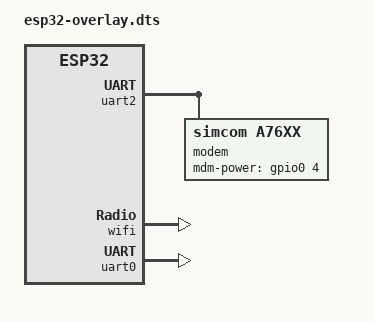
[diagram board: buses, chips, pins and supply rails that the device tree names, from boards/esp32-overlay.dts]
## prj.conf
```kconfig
CONFIG_BOOTLOADER_MCUBOOT=y

CONFIG_LOG=y
CONFIG_LOG_DEFAULT_LEVEL=3
CONFIG_LOG_MODE_IMMEDIATE=y  
CONFIG_NET_LOG=y
CONFIG_MODEM_LOG_LEVEL_DBG=y
CONFIG_UART_LOG_LEVEL_DBG=y
CONFIG_MODEM_CONTEXT_VERBOSE_DEBUG=y
CONFIG_LOG_MODE_IMMEDIATE=y
CONFIG_LOG_MODE_MINIMAL=y

# Network Configuration
CONFIG_NET_CONFIG_AUTO_INIT=n
CONFIG_NET_CONNECTION_MANAGER=y
# CONFIG_NET_IF_MAX_IPV4_COUNT=2
CONFIG_NET_IPV4=y
CONFIG_NET_L2_ETHERNET=y
CONFIG_NET_L2_WIFI_MGMT=y
CONFIG_NET_MGMT=y
CONFIG_NET_MGMT_EVENT=y
CONFIG_NET_MGMT_EVENT_INFO=y
CONFIG_NET_UDP=y
CONFIG_NETWORKING=y
CONFIG_COAP=y
CONFIG_NET_SOCKETS=y
# CONFIG_POSIX_API=y
CONFIG_NET_DHCPV4=y
CONFIG_ESP32_WIFI_STA_AUTO_DHCPV4=y

CONFIG_NET_MGMT_EVENT_QUEUE_SIZE=10
CONFIG_NET_MGMT_EVENT_STACK_SIZE=4096
# CONFIG_NET_PKT_RX_COUNT=24
# CONFIG_NET_PKT_TX_COUNT=24
CONFIG_MAIN_STACK_SIZE=4096
# CONFIG_ISR_STACK_SIZE=4096
# CONFIG_NET_MGMT_EVENT_STACK_SIZE=5120

CONFIG_NET_BUF_RX_COUNT=32
CONFIG_NET_BUF_TX_COUNT=32
CONFIG_NET_BUF_DATA_SIZE=512
CONFIG_NET_RX_STACK_SIZE=4096
CONFIG_NET_TX_STACK_SIZE=4096
CONFIG_NET_PKT_RX_COUNT=64
CONFIG_NET_PKT_TX_COUNT=64
CONFIG_SYSTEM_WORKQUEUE_STACK_SIZE=4096

CONFIG_SHELL=y
CONFIG_THREAD_STACK_INFO=y
CONFIG_THREAD_MONITOR=y
CONFIG_INIT_STACKS=y

# CONFIG_NET_SOCKETS_TLS_PRIORITY=45  # defaults to that already
# CONFIG_NET_SOCKETS_OFFLOAD_PRIORITY=40  # defaults to that already
# CONFIG_NET_SOCKETS_PRIORITY_DEFAULT=40  # defaults to that already
# i dont ever want socket() to link to the modem
# CONFIG_MODEM_SIMCOM_A76XX_SOCKET_PRIORITY=40

CONFIG_NET_OFFLOAD=y
CONFIG_NET_SOCKETS=y
CONFIG_NET_SOCKETS_OFFLOAD=y

# Modem config
CONFIG_MODEM=y
CONFIG_MODEM_A76XX=y
CONFIG_MODEM_SIM_NUMBERS=n
CONFIG_MODEM_SIMCOM_A76XX_RAT_NB1=n
CONFIG_MODEM_SIMCOM_A76XX_RAT_M1=n
CONFIG_MODEM_SIMCOM_A76XX_RAT_GSM=y
```

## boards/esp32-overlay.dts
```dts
/ {

	chosen {
		zephyr,console = &uart0;
		zephyr,shell-uart = &uart0;
	};

	aliases {
        modem-uart = &uart2;
		modem = &modem;
		adaptive-net-device-1 = &modem;
		adaptive-net-device-2 = &wifi;
    };
};


&uart2 {
    modem: modem {
		compatible = "simcom,a76xx";
        mdm-power-gpios = <&gpio0 4 GPIO_ACTIVE_HIGH>;
		status = "okay";
	};
    status = "okay";
};


&wifi {
	status = "okay";
};

&uart0 {
	status = "okay";
};
```

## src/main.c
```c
#include <zephyr/logging/log.h>
LOG_MODULE_REGISTER(main, LOG_LEVEL_DBG);

#include <zephyr/kernel.h>
#include <zephyr/net/wifi_mgmt.h>
#include <stdio.h>
#include <zephyr/net/net_ip.h>
#include <zephyr/net/socket.h>
#include <zephyr/net/udp.h>
#include <zephyr/net/coap.h>
#include <zephyr/posix/sys/socket.h>
#include "net_private.h"
#include "adaptive-sockets.h"


#define MAX_COAP_MSG_LEN 256
static const char *const test_path[] = {"hello", NULL};

static int send_simple_coap_request(int sock, uint8_t method)
{
    uint8_t payload[] = "payload";
    struct coap_packet request;
    const char *const *p;
    uint8_t *data;
    int r;

    data = (uint8_t *)k_calloc(MAX_COAP_MSG_LEN, 1);
    if (!data)
    {
        return -ENOMEM;
    }

    r = coap_packet_init(&request, data, MAX_COAP_MSG_LEN,
                         COAP_VERSION_1, COAP_TYPE_CON,
                         COAP_TOKEN_MAX_LEN, coap_next_token(),
                         method, coap_next_id());
    if (r < 0)
    {
        LOG_ERR("Failed to init CoAP message");
        goto end;
    }

    for (p = test_path; p && *p; p++)
    {
        r = coap_packet_append_option(&request, COAP_OPTION_URI_PATH,
                                      *p, strlen(*p));
        if (r < 0)
        {
            LOG_ERR("Unable add option to request");
            goto end;
        }
    }

    switch (method) {
	case COAP_METHOD_GET:
	case COAP_METHOD_DELETE:
		break;

	case COAP_METHOD_PUT:
	case COAP_METHOD_POST:
		r = coap_packet_append_payload_marker(&request);
		if (r < 0) {
			LOG_ERR("Unable to append payload marker");
			goto end;
		}

		r = coap_packet_append_payload(&request, (uint8_t *)payload,
					       sizeof(payload) - 1);
		if (r < 0) {
			LOG_ERR("Not able to append payload");
			goto end;
		}

		break;
	default:
		r = -EINVAL;
		goto end;
	}

    net_hexdump("Request", request.data, request.offset);

    r = zsock_send(sock, request.data, request.offset, 0);

end:
    k_free(data);

    return r;
}

static int process_simple_coap_reply(int sock)
{
    struct coap_packet reply;
    uint8_t *data;
    int rcvd;
    int ret;

    LOG_DBG("Starting to process simple CoAP reply...");

    data = (uint8_t *)k_calloc(MAX_COAP_MSG_LEN, 1);
    if (!data)
    {
        LOG_ERR("Failed to allocate memory for storing coap response.");
        return -ENOMEM;
    }

    rcvd = zsock_recv(sock, data, MAX_COAP_MSG_LEN, MSG_DONTWAIT);
    if (rcvd == 0)
    {
        LOG_ERR("Received zero bytes.");
        ret = -EIO;
        goto end;
    }

    // if (rcvd < 0)
    // {
    //     LOG_ERR("Something went wrong when recieving data.");
    //     if (errno == EAGAIN || errno == EWOULDBLOCK)
    //     {
    //         ret = 0;
    //     }
    //     else
    //     {
    //         ret = -errno;
    //     }

    //     goto end;
    // }

    net_hexdump("Response", data, rcvd);

    ret = coap_packet_parse(&reply, data, rcvd, NULL, 0);
    if (ret < 0)
    {
        LOG_ERR("Invalid data received");
    }

    /*
     * THE FIX: Extract and print the human-readable payload.
     */
    uint8_t *payload;
    uint16_t payload_len;

    payload = coap_packet_get_payload(&reply, &payload_len);
    if (payload && payload_len > 0)
    {
        /*
         * Use the %.*s format specifier to print the payload,
         * which is not a null-terminated string.
         */
        LOG_INF("CoAP response payload: %.*s", payload_len, payload);
    }
    else
    {
        LOG_WRN("CoAP response has no payload.");
    }

end:
    k_free(data);

    return ret;
}

int main(void)
{

    connect_to_wifi();
    adaptive_sockets_init();

    int ret = 0;
    struct sockaddr_in addr;
    addr.sin_family = AF_INET;
    addr.sin_port = htons(5683);
    net_addr_pton(AF_INET, "134.102.218.18", &addr.sin_addr);

    int sock = zsock_socket(addr.sin_family, SOCK_DGRAM, IPPROTO_UDP);
    if (sock < 0)
    {
        LOG_ERR("Failed to create UDP socket %d", errno);
        return -sock;
    }
    else
    {
        LOG_DBG("Created socket with fd %d.", sock);
    }

    ret = zsock_connect(sock, (struct sockaddr *)&addr, sizeof(addr));
    if (ret < 0)
    {
        LOG_ERR("Cannot connect to UDP remote : %d", errno);
        return -ret;
    }
    else
    {
        LOG_INF("Connected to UDP remote.");
    }

    ret = send_simple_coap_request(sock, COAP_METHOD_GET);
    if (ret < 0)
    {
        LOG_ERR("Failed to send coap request. Error code %d.", ret);
        return ret;
    }
    else
    {
        LOG_INF("Sent coap request successfully");
    }

    ret = process_simple_coap_reply(sock);
    if (ret < 0)
    {
        LOG_ERR("Error process_simple_coap_reply: %d", errno);
    }
    else
    {
        LOG_INF("Processed coap reply correctly.");
    }

    return 0;
}
```

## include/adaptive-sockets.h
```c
#ifndef ADAPTIVE_SOCKETS_H
#define ADAPTIVE_SOCKETS_H

#define ADAPT_CUSTOM_ADDRESS_FAMILY 7  // just make sure it doesnt overlap with any existing address family

int adaptive_sockets_init();

#endif
```

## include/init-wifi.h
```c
#ifndef INIT_WIFI_H
#define INIT_WIFI_H

int connect_to_wifi(void);

#endif
```

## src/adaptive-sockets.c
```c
#include <zephyr/logging/log.h>
LOG_MODULE_REGISTER(adaptive_sockets, LOG_LEVEL_DBG);
#include <zephyr/kernel.h>
#include <zephyr/net/net_if.h>
#include <zephyr/net/socket.h>
#include <zephyr/net/net_context.h>
#include <zephyr/net/net_pkt.h>
#include <zephyr/device.h>
#include <zephyr/devicetree.h>

// node identifiers
#define ADAPT_NET_DEV_1 DT_ALIAS(adaptive_net_device_1)
#define ADAPT_NET_DEV_2 DT_ALIAS(adaptive_net_device_2)

// compile time checks
#if !DT_NODE_HAS_STATUS(ADAPT_NET_DEV_1, okay)
#error "Devicetree alias 'adaptive-net-device-1' is missing or disabled. Please define it in your board overlay."
#endif
#if !DT_NODE_HAS_STATUS(ADAPT_NET_DEV_2, okay)
#error "Devicetree alias 'adaptive-net-device-2' is missing or disabled. Please define it in your board overlay."
#endif

#define NET_IF_STATUS_POLLING_INTERVAL K_SECONDS(10)
#define NET_IF_STATUS_POLLING_PRIORITY 10
#define NET_IF_1_STABLE_CHECKS_NEEDED 2
#define ADAPTIVE_MAX_SEND_TRIES 3
#define ADAPTIVE_MAX_RECV_TRIES 3

/*
 * Holds data for and Adaptive Socket
 */
struct adaptive_socket
{
    int fd;
    struct netif *net_if;
    struct net_context *context;
    struct k_sem recv_pkt_sem;
    struct net_pkt *recv_pkt;
    struct sockaddr *dest_addr;
    socklen_t dest_addr_len;
    uint8_t *send_buf;
    size_t send_buf_len;
    bool connected;
    int error;
};

/*
 * Holds data for the Adaptive Sockets Layer
 */
struct adaptive_sockets_layer
{
    struct net_if *net_if_1;
    struct net_if *net_if_2;
    bool net_if_1_operational;
    bool net_if_2_operational;
    /*
     * Keeps track of how many recent checks found net if 1 to be stable.
     * Gets reset to 0 if net if 1 is not operational.
     * Increases by 1 every time net if 1 is found operational.
     * Capped at NET_IF_1_STABLE_CHECKS_NEEDED.
     * net if 1 is stable if net_if_1_successful_stable_checks == NET_IF_1_STABLE_CHECKS_NEEDED.
     */
    uint8_t net_if_1_successful_stable_checks;
    struct k_mutex lock;
    struct k_thread monitor_thread_data;
    k_tid_t monitor_tid;
    int error;
};

void net_if_status_monitor_thread(void *p1, void *p2, void *p3);
K_THREAD_STACK_DEFINE(monitor_stack_area, NET_IF_STATUS_MONITOR_THREAD_STACK_SIZE);
static struct adaptive_sockets_layer adapt_sockets_layer = {0};
static bool adaptive_net_if_is_operational(struct net_if *iface);
static int adaptive_close(void *obj);
static int adaptive_connect(void *obj, const struct sockaddr *dest_addr, socklen_t dest_addr_len);
static ssize_t adaptive_sendto(void *obj, const void *buf, size_t buf_len, int flags, struct sockaddr *dest_addr, socklen_t dest_addr_len);
static ssize_t adaptive_recvfrom(void *obj, void *buf, size_t buf_len, int flags, struct sockaddr *src_addr, socklen_t *src_addr_len);

static const struct socket_op_vtable adapt_socket_ops = {
    .fd_vtable = {
        .read = NULL,
        .write = NULL,
        .close = adaptive_close, // implement
        .ioctl = NULL},
    .shutdown = NULL,
    .bind = NULL,
    .connect = adaptive_connect, // implement
    .listen = NULL,
    .accept = NULL,
    .sendto = adaptive_sendto,     // implement
    .recvfrom = adaptive_recvfrom, // implement
    .getsockopt = NULL,
    .setsockopt = NULL,
    .sendmsg = NULL,
    .recvmsg = NULL,
    .getpeername = NULL,
    .getsockname = NULL,
};

static void adaptive_update_net_if_statuses()
{
    k_mutex_lock(&adapt_sockets_layer.lock, K_FOREVER);
    adapt_sockets_layer.net_if_1_operational = adaptive_net_if_is_operational(adapt_sockets_layer.net_if_1);
    if (!adapt_sockets_layer.net_if_1_operational)
    {
        adapt_sockets_layer.net_if_1_successful_stable_checks = 0;
    }
    adapt_sockets_layer.net_if_2_operational = adaptive_net_if_is_operational(adapt_sockets_layer.net_if_2);
    k_mutex_unlock(&adapt_sockets_layer.lock);
}

static void net_if_status_monitor_thread(void *p1, void *p2, void *p3)
{
    while (true)
    {
        k_sleep(NET_IF_STATUS_POLLING_INTERVAL);
        k_mutex_lock(&adapt_sockets_layer.lock, K_FOREVER);
        adapt_sockets_layer.net_if_1_operational = adaptive_net_if_is_operational(adapt_sockets_layer.net_if_1);
        if (adapt_sockets_layer.net_if_1_operational &&
            adapt_sockets_layer.net_if_1_successful_stable_checks < NET_IF_1_STABLE_CHECKS_NEEDED)
        {
            adapt_sockets_layer.net_if_1_successful_stable_checks++;
        }
        else if (!adapt_sockets_layer.net_if_1_operational)
        {
            adapt_sockets_layer.net_if_1_successful_stable_checks = 0;
        }
        adapt_sockets_layer.net_if_2_operational = adaptive_net_if_is_operational(adapt_sockets_layer.net_if_2);
        k_mutex_unlock(&adapt_sockets_layer.lock);
    }
}

static bool adaptive_net_if_1_is_stable()
{
    return adapt_sockets_layer.net_if_1_successful_stable_checks == NET_IF_1_STABLE_CHECKS_NEEDED;
}

void log_interface_conditions(struct net_if *iface)
{
    if (iface == NULL)
    {
        LOG_ERR("Cannot log conditions: Interface pointer is NULL.");
        return;
    }
    LOG_DBG("Admin up: %d\nCarrier okay: %d\nIs dormant: %d", net_if_is_admin_up(iface), net_if_is_carrier_ok(iface), net_if_is_dormant(iface));
}

void log_ipv4(struct sockaddr *addr, socklen_t addrlen)
{
    if (addr && addrlen >= sizeof(struct sockaddr_in))
    {
        // Assume IPv4 for demonstration (common case)
        const struct sockaddr_in *sin = (const struct sockaddr_in *)addr;
        char addr_str[NET_IPV4_ADDR_LEN];

        // Convert the IP address to a human-readable string
        if (net_addr_ntop(AF_INET, &sin->sin_addr, addr_str, sizeof(addr_str)))
        {

            LOG_DBG("Address: %s:%u",
                    addr_str,
                   ntohs(sin->sin_port));
            LOG_DBG("Address Family (sin_family): %d (AF_INET=2)", sin->sin_family);
        }
        else
        {
            LOG_DBG("Destination Address available, but net_addr_ntop failed.");
        }
    }
    else if (addr)
    {
        LOG_DBG("Destination Address provided, but is NOT IPv4 or size is incorrect. Family: %d",
                addr->sa_family);
    }
    else
    {
        LOG_DBG("Destination Address (addr): NULL");
    }
}

static bool adaptive_net_if_is_operational(struct net_if *iface)
{
    return iface != NULL && net_if_is_admin_up(iface) && net_if_is_carrier_ok(iface) && !net_if_is_dormant(iface);
}

static struct net_if *adaptive_get_prefered_net_if(void)
{
    adaptive_update_net_if_statuses();
    k_mutex_lock(&adapt_sockets_layer.lock, K_FOREVER);
    struct net_if *prefered = NULL;
    if (adapt_sockets_layer.net_if_1_operational && adaptive_net_if_1_is_stable())
    {
        prefered = adapt_sockets_layer.net_if_1;
    }
    else if (adaptive_net_if_is_operational(adapt_sockets_layer.net_if_2))
    {
        prefered = adapt_sockets_layer.net_if_2;
    }
    k_mutex_unlock(&adapt_sockets_layer.lock);
    return prefered;
}

static struct net_if *adaptive_get_inner_net_if(struct device *dev)
{
    if (dev == NULL)
    {
        LOG_ERR("No device given!");
        adapt_sockets_layer.error = ENODEV;
        return -adapt_sockets_layer.error;
    }
    if (!device_is_ready(dev))
    {
        LOG_ERR("Adaptive net device is not ready yet.");
        // Use EBUSY: Resource is busy or not initialized.
        adapt_sockets_layer.error = EBUSY;
        return -adapt_sockets_layer.error;
    }
    struct net_if *iface = net_if_lookup_by_dev(dev);
    if (iface == NULL)
    {
        LOG_ERR("Failed to get network interface for net device!");
        adapt_sockets_layer.error = ENODEV;
        return -adapt_sockets_layer.error;
    }
    return iface;
}

int adaptive_sockets_init(void)
{
    k_mutex_init(&adapt_sockets_layer.lock);
    k_mutex_lock(&adapt_sockets_layer.lock, K_FOREVER);
    adapt_sockets_layer.error = 0;

    // get inner net ifs
    struct device *net_dev_1 = DEVICE_DT_GET(ADAPT_NET_DEV_1);
    adapt_sockets_layer.net_if_1 = adaptive_get_inner_net_if(net_dev_1);
    if (adapt_sockets_layer.net_if_1 == NULL)
    {
        LOG_ERR("Could not find net if for net device 1.");
        adapt_sockets_layer.error = ENODEV;
        return -ENODEV;
    }
    struct device *net_dev_2 = DEVICE_DT_GET(ADAPT_NET_DEV_2);
    adapt_sockets_layer.net_if_2 = adaptive_get_inner_net_if(net_dev_2);
    if (adapt_sockets_layer.net_if_2 == NULL)
    {
        LOG_ERR("Could not find net if for net device 2.");
        adapt_sockets_layer.error = ENODEV;
        return -ENODEV;
    }

    // create a thread to monitor net ifs
    adapt_sockets_layer.monitor_tid = k_thread_create(
        &adapt_sockets_layer.monitor_thread_data,
        monitor_stack_area,
        K_THREAD_STACK_SIZEOF(monitor_stack_area),
        net_if_status_monitor_thread,
        NULL, NULL, NULL,
        NET_IF_STATUS_POLLING_PRIORITY,
        0,
        K_NO_WAIT);

    // set net ifs current status
    adapt_sockets_layer.net_if_1_operational = adaptive_net_if_is_operational(adapt_sockets_layer.net_if_1);
    adapt_sockets_layer.net_if_2_operational = adaptive_net_if_is_operational(adapt_sockets_layer.net_if_2);
    k_mutex_unlock(&adapt_sockets_layer.lock);
    return 0;
}

static int adaptive_connect(void *obj, const struct sockaddr *dest_addr, socklen_t dest_addr_len)
{
    struct adaptive_socket *socket = (struct adaptive_socket *)obj;
    LOG_DBG("Running adaptive_connect for socket %d...", socket->fd);

    // destination might be given here or in the send function. This is to account for both cases.
    // we're storing destination for later
    socket->dest_addr = dest_addr;
    socket->dest_addr_len = dest_addr_len;
    // we need to be bound at this stage cause net_context_connect might try to call net_offloaded funcs
    struct net_if *iface = adaptive_get_prefered_net_if();
    net_context_bind_iface(socket->context, iface);
    int error = net_context_connect(
        socket->context,
        dest_addr,
        dest_addr_len,
        NULL,
        K_FOREVER,
        NULL);
    if (error < 0)
    {
        LOG_ERR("Failed to connect the net context. Error: %d.", error);
    }
    socket->connected = error == 0;
    return error;
}

void adaptive_on_send(struct net_context *context, int status, void *user_data)
{
    LOG_DBG("Running adaptive_on_send...");
}

static ssize_t adaptive_sendto(void *obj, const void *buf, size_t buf_len, int flags,
                               struct sockaddr *dest_addr, socklen_t dest_addr_len)
{
    struct adaptive_socket *socket = (struct adaptive_socket *)obj;
    LOG_DBG("Running adaptive_sendto for socket %d...", socket->fd);


    if (socket->send_buf != NULL)
    {
        // in case of socket reuse before callin recv
        k_free(socket->send_buf);
        socket->send_buf = NULL;
        socket->send_buf_len = 0;
    }

    uint8_t try = 0;
    while (try < ADAPTIVE_MAX_SEND_TRIES)
    {
        if (!socket->connected)
        {
            adaptive_connect(socket, dest_addr, dest_addr_len);
        }
        if (!dest_addr == NULL)
        {
            socket->dest_addr = dest_addr;
            socket->dest_addr_len = dest_addr_len;
        }

        if (socket->dest_addr == NULL)
        {
            return -EINVAL;
        }
        int bytes_sent = 0;
        bytes_sent = net_context_sendto(
            socket->context,
            buf,
            buf_len,
            socket->dest_addr,
            socket->dest_addr_len,
            adaptive_on_send,
            K_FOREVER,
            NULL);
        if (bytes_sent >= 0)
        {
            socket->send_buf = k_calloc(buf_len, 1); // free in recv and in close socket
            if (socket->send_buf == NULL)
            {
                socket->send_buf_len = 0;
                // failed to store data
                // send is still a success
                // so that means we should continue with the network operations
                // we just wont be able to retry in recv.
            }
            else
            {
                memcpy(socket->send_buf, buf, buf_len);
                socket->send_buf_len = buf_len;
            }
            return bytes_sent; // SUCCESS EXIT CONDITION
        }
        else if (try == ADAPTIVE_MAX_SEND_TRIES - 1)
        {
            // we wont be trying again
            return bytes_sent; // contains an error code
        }
        // retry logic needs to go here
        // get new preferred net if
        struct net_if *preferred_iface = adaptive_get_prefered_net_if();
        if (preferred_iface == NULL)
        {
            // return an error for net if down
            return ENETDOWN;
        }
        // if got it, retry using that net if
        socket->net_if = preferred_iface;
        socket->connected = false;
        try++;
    }
}

static void adaptive_on_receive
    struct net_context *context,
    struct net_pkt *pkt,
    union net_ip_header *ip_hdr,
    union net_proto_header *proto_hdr,
    int status,
    void *user_data)
{
    LOG_DBG("Running adaptive_on_receive...");
    struct adaptive_socket *socket = (struct adaptive_socket *)user_data;
    socket->recv_pkt = pkt;
    k_sem_give(&socket->recv_pkt_sem);
}

static ssize_t adaptive_recvfrom(void *obj, void *buf, size_t buf_len, int flags,
                                 struct sockaddr *src_addr, socklen_t *src_addr_len)
{
    struct adaptive_socket *socket = (struct adaptive_socket *)obj;
    LOG_DBG("Running adaptive_recvfrom for socket %d...", socket->fd);
    ssize_t error = 0;
    uint8_t try = 0;
    while (try < ADAPTIVE_MAX_RECV_TRIES)
    {
        error = (ssize_t)net_context_recv(socket->context, adaptive_on_receive, K_FOREVER, socket);
        if (error < 0)
        {
            LOG_ERR("Failed to receive data from context. Error: %d.", error);
            goto retry;
        }
        error = (ssize_t)k_sem_take(&socket->recv_pkt_sem, K_SECONDS(60));
        if (error == -EAGAIN)
        {
            LOG_ERR("Timeout waiting for data.");
            goto retry;
        }

        if (socket->recv_pkt == NULL)
        {
            LOG_ERR("No recieved packet found.");
            goto retry;
        }
        if (error == 0)
        {
            break;
        }
    retry:
        if (socket->send_buf == NULL)
        {
            // retry not possible
            return error;
        }
        if (try == ADAPTIVE_MAX_RECV_TRIES - 1)
        {
            error = adaptive_sendto(socket, socket->send_buf, socket->send_buf_len, 0, NULL, 0);
            if (error < 0)
            {
                // return because send also failed
               goto cleanup;
            }
        }
        try++;
    }
    // check if error
    if (error < 0)
    {
        goto cleanup;
    }

    size_t pkt_len = net_pkt_get_len(socket->recv_pkt);
    // hacky solution: espressif wifi driver seems to add extra 28 bytes of data
    if (net_if_get_wifi_sta() == socket->net_if)
    {
        if (pkt_len < 28)
        {
            error = -EMSGSIZE;
            goto cleanup;
        }
        else
        {
            pkt_len = pkt_len - 28;
        }
    }
    ssize_t bytes_to_copy = (pkt_len < buf_len ? pkt_len : buf_len);
    LOG_DBG("max_length: %zu, packet_length: %zu, bytes_to_copy: %zu", buf_len, pkt_len, bytes_to_copy);
    net_pkt_cursor_init(socket->recv_pkt);
    error = (ssize_t)net_pkt_read(socket->recv_pkt, buf, bytes_to_copy);
    if (error < 0)
    {
        LOG_ERR("Failed to read network packet. Error code: %d.", error);
    }
cleanup:
    if (socket->recv_pkt != NULL)
    {
        net_pkt_unref(socket->recv_pkt); // unref the packet regardless of whether it was read successfully.
        socket->recv_pkt = NULL;
    }
    k_free(socket->send_buf);
    socket->send_buf = NULL;
    socket->send_buf_len = 0;
    return error == 0 ? (ssize_t)bytes_to_copy : error;
}

static int adaptive_close(void *obj)
{
    struct adaptive_socket *socket = (struct adaptive_socket *)obj;
    LOG_DBG("Running adaptive_close for socket %d...", socket->fd);
    int error = net_context_put(socket->context);
    if (error < 0)
    {
        LOG_ERR("Failed to put network context. Error %d.", error);
    }
    zvfs_free_fd(socket->fd);
    k_free(socket->send_buf);
    socket->send_buf = NULL;
    socket->send_buf_len = 0;
    if (socket->recv_pkt != NULL)
    {
        net_pkt_unref(socket->recv_pkt);
    }
    k_free(socket);
    return 0;
}

static bool adaptive_connection_is_supported(int family, int type, int proto)
{
    LOG_DBG("Running adaptive_connection_is_supported...");
    return family == AF_INET && type == SOCK_DGRAM && proto == IPPROTO_UDP;
}

static int adaptive_get_socket(int family, int type, int proto)
{
    LOG_DBG("Running adaptive_get_socket...");

    // creates a socket
    struct adaptive_socket *socket = k_calloc(1, sizeof(struct adaptive_socket));
    if (socket == NULL)
    {
        return -ENOMEM;
    }

    // gets a file descriptor
    int fd = zvfs_reserve_fd();
    if (fd < 0)
    {
        return fd; // contains an error
    }
    socket->fd = fd;
    zvfs_finalize_typed_fd(
        socket->fd,
        socket,
        (struct fd_op_vtable *)&adapt_socket_ops,
        ZVFS_MODE_IFSOCK);

    // gets a context
    int error_code = net_context_get(family, type, proto, &socket->context);
    if (error_code < 0)
    {
        LOG_ERR("Failed to get a network context. Error %d.", error_code);
    }
    // socket remained unbound
    // bind it as late as possible
    k_sem_init(&socket->recv_pkt_sem, 0, 1);
    return socket->fd;
}

NET_SOCKET_OFFLOAD_REGISTER(
    adaptive_sockets,
    CONFIG_ADAPTIVE_SOCKETS_PRIORITY,
    AF_INET,
    adaptive_connection_is_supported,
    adaptive_get_socket);
```

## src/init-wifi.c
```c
#include <zephyr/logging/log.h>
LOG_MODULE_REGISTER(main, LOG_LEVEL_DBG);
#include <zephyr/kernel.h>
#include <zephyr/net/wifi_mgmt.h>


#define CONFIG_WIFI_SAMPLE_SSD "Openserve-8B43"
#define CONFIG_WIFI_SAMPLE_PSK "RctVkh8VLh"
static struct net_if *sta_iface;
static struct wifi_connect_req_params sta_config;
static struct net_mgmt_event_callback wifi_connection_cb;
static struct net_mgmt_event_callback wifi_ipv4_cb;
static struct k_sem wifi_connection_sem;
static struct k_sem wifi_ip_address_sem;

#define MAX_COAP_MSG_LEN 256
static const char *const test_path[] = {"hello", NULL};

static void wifi_connection_event_handler(struct net_mgmt_event_callback *cb, uint64_t mgmt_event, struct net_if *iface)
{
    switch (mgmt_event)
    {
    case NET_EVENT_WIFI_CONNECT_RESULT:
    {
        LOG_INF("Connected to %s", CONFIG_WIFI_SAMPLE_SSID);
        k_sem_give(&wifi_connection_sem);
        break;
    }
    case NET_EVENT_WIFI_DISCONNECT_RESULT:
    {
        LOG_INF("Disconnected from %s", CONFIG_WIFI_SAMPLE_SSID);
        break;
    }
    default:
        break;
    }
}

static void wifi_ipv4_event_handler(struct net_mgmt_event_callback *cb, uint64_t mgmt_event, struct net_if *iface)
{
    if (mgmt_event == NET_EVENT_IPV4_ADDR_ADD)
    {
        LOG_DBG("Got an IP address");
        k_sem_give(&wifi_ip_address_sem);
    }
}

static int init_wifi(void)
{
    k_sleep(K_SECONDS(5));
    k_sem_init(&wifi_connection_sem, 0, 1);
    k_sem_init(&wifi_ip_address_sem, 0, 1);
    net_mgmt_init_event_callback(
        &wifi_connection_cb,
        wifi_connection_event_handler,
        NET_EVENT_WIFI_CONNECT_RESULT | NET_EVENT_WIFI_DISCONNECT_RESULT);
    net_mgmt_init_event_callback(
        &wifi_ipv4_cb,
        wifi_ipv4_event_handler,
        NET_EVENT_IPV4_ADDR_ADD);
    net_mgmt_add_event_callback(&wifi_connection_cb);
    net_mgmt_add_event_callback(&wifi_ipv4_cb);
    sta_iface = net_if_get_wifi_sta();
    k_sleep(K_SECONDS(5));
}

static int wait_for_wifi(void)
{

    LOG_DBG("Waiting for wifi...");
    k_sem_take(&wifi_connection_sem, K_FOREVER);
    k_sem_take(&wifi_ip_address_sem, K_FOREVER);
}

int connect_to_wifi(void)
{

    init_wifi();
    if (!sta_iface)
    {
        LOG_INF("STA: interface no initialized");
        return -EIO;
    }

    sta_config.ssid = (const uint8_t *)CONFIG_WIFI_SAMPLE_SSID;
    sta_config.ssid_length = sizeof(CONFIG_WIFI_SAMPLE_SSID) - 1;
    sta_config.psk = (const uint8_t *)CONFIG_WIFI_SAMPLE_PSK;
    sta_config.psk_length = sizeof(CONFIG_WIFI_SAMPLE_PSK) - 1;
    sta_config.security = WIFI_SECURITY_TYPE_PSK;
    sta_config.channel = WIFI_CHANNEL_ANY;
    sta_config.band = WIFI_FREQ_BAND_2_4_GHZ;

    LOG_INF("Connecting to SSID: %s\n", sta_config.ssid);

    int ret = net_mgmt(NET_REQUEST_WIFI_CONNECT, sta_iface, &sta_config,
                       sizeof(struct wifi_connect_req_params));
    if (ret)
    {
        LOG_ERR("Unable to Connect to (%s)", CONFIG_WIFI_SAMPLE_SSID);
    } else {
        wait_for_wifi();
    }

    return ret;
}
```
